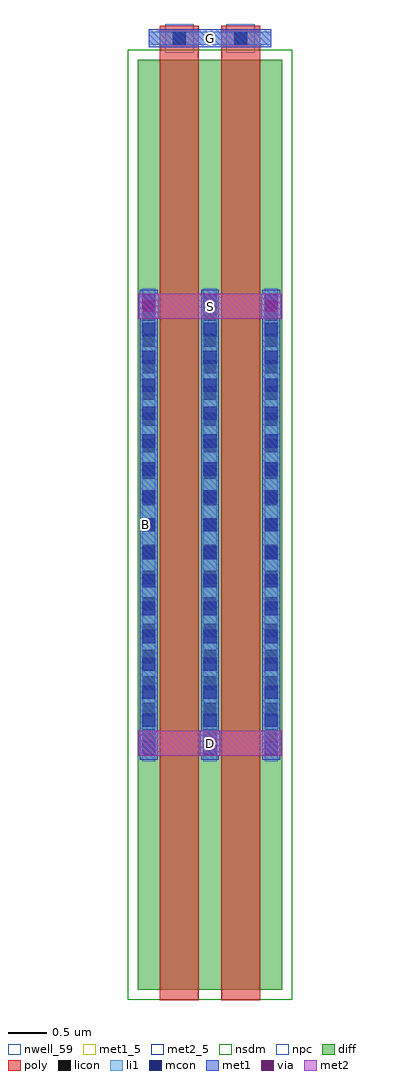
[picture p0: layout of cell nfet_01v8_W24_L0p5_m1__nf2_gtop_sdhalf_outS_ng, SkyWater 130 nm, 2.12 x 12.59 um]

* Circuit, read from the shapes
.subckt nfet_01v8_W24_L0p5_m1__nf2_gtop_sdhalf_outS_ng B D G S
XM1 D G S B sky130_fd_pr__nfet_01v8 w=12 l=0.5 m=2
.ends

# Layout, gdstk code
import gdstk
lib = gdstk.Library(unit=1e-6, precision=1e-09)
def R(c, l, rs):  # rectangles x0, y0, x1, y1
    for r in rs: c.add(gdstk.rectangle(r[:2], r[2:], *l))
def A(c, l, x, y, w, h, nx, ny, dx, dy):  # array of equal rectangles
    R(c, l, [(x+i*dx, y+j*dy, x+i*dx+w, y+j*dy+h) for i in range(nx) for j in range(ny)])
nwell_59 = (64, 59)
diff = (65, 20)
poly = (66, 20)
licon = (66, 44)
li1 = (67, 20)
mcon = (67, 44)
met1_5 = (68, 5)
met1 = (68, 20)
via = (68, 44)
met2_5 = (69, 5)
met2 = (69, 20)
nsdm = (93, 44)
npc = (95, 20)

sky130_fd_pr__nfet_01v8_ = lib.new_cell('sky130_fd_pr__nfet_01v8_KU99KW')
R(sky130_fd_pr__nfet_01v8_, diff, [(-0.935,-6.155,0.935,5.845)])
R(sky130_fd_pr__nfet_01v8_, poly, [(-0.645,-6.285,-0.145,6.285), (0.145,-6.285,0.645,6.285)])
A(sky130_fd_pr__nfet_01v8_, licon, -0.875, -2.96, 0.17, 0.17, 3, 17, 0.79, 0.34)
R(sky130_fd_pr__nfet_01v8_, licon, [(-0.48,6.035,-0.31,6.205), (0.31,6.035,0.48,6.205)])
A(sky130_fd_pr__nfet_01v8_, li1, -0.875, -3.205, 0.17, 6.1, 3, 1, 0.79, 0)
R(sky130_fd_pr__nfet_01v8_, li1, [(-0.79,6.035,0.79,6.205)])
A(sky130_fd_pr__nfet_01v8_, mcon, -0.875, -3.12, 0.17, 0.17, 3, 17, 0.79, 0.36)
R(sky130_fd_pr__nfet_01v8_, mcon, [(-0.48,6.035,-0.31,6.205), (0.31,6.035,0.48,6.205)])
A(sky130_fd_pr__nfet_01v8_, met1, -0.905, -3.185, 0.23, 6.06, 3, 1, 0.79, 0)
R(sky130_fd_pr__nfet_01v8_, met1, [(-0.625,6.005,-0.165,6.035), (0.165,6.005,0.625,6.035), (-0.79,6.035,0.79,6.205), (-0.625,6.205,-0.165,6.235), (0.165,6.205,0.625,6.235)])
R(sky130_fd_pr__nfet_01v8_, nsdm, [(-1.06,-6.28,1.06,5.97)])
R(sky130_fd_pr__nfet_01v8_, npc, [(-0.58,5.935,-0.21,6.305), (0.21,5.935,0.58,6.305)])
sky130_fd_pr__nfet_01v8_.add(gdstk.Label('D0', (-0.79,-0.155), layer=67, texttype=5))
sky130_fd_pr__nfet_01v8_.add(gdstk.Label('G', (0.395,6.12), layer=67, texttype=5))
sky130_fd_pr__nfet_01v8_.add(gdstk.Label('G', (-0.395,6.12), layer=67, texttype=5))
sky130_fd_pr__nfet_01v8_.add(gdstk.Label('S1', (0,-0.155), layer=67, texttype=5))

nfet_01v8_w24_l0p5_m1__n = lib.new_cell('nfet_01v8_W24_L0p5_m1__nf2_gtop_sdhalf_outS_ng')
R(nfet_01v8_w24_l0p5_m1__n, nwell_59, [(0.05,6.08,0.15,6.18)])
R(nfet_01v8_w24_l0p5_m1__n, met1_5, [(0.145,12.29,1.725,12.52)])
R(nfet_01v8_w24_l0p5_m1__n, met1, [(0.805,3.15,1.065,3.47), (0.015,8.79,0.275,9.11), (1.595,8.79,1.855,9.11), (0.145,12.29,1.725,12.52)])
R(nfet_01v8_w24_l0p5_m1__n, via, [(0.86,3.235,1.01,3.385), (0.07,8.875,0.22,9.025), (1.65,8.875,1.8,9.025)])
R(nfet_01v8_w24_l0p5_m1__n, met2_5, [(0.01,3.15,1.86,3.47), (0.01,8.79,1.86,9.11)])
R(nfet_01v8_w24_l0p5_m1__n, met2, [(0.01,3.15,1.86,3.47), (0.01,8.79,1.86,9.11)])
nfet_01v8_w24_l0p5_m1__n.add(gdstk.Reference(sky130_fd_pr__nfet_01v8_, (0.935,6.285)))
nfet_01v8_w24_l0p5_m1__n.add(gdstk.Label('S', (0.935,8.95), layer=69, texttype=5))
nfet_01v8_w24_l0p5_m1__n.add(gdstk.Label('D', (0.935,3.31), layer=69, texttype=5))
nfet_01v8_w24_l0p5_m1__n.add(gdstk.Label('G', (0.935,12.405), layer=68, texttype=5))
nfet_01v8_w24_l0p5_m1__n.add(gdstk.Label('B', (0.1,6.13), layer=64, texttype=59))

lib.write_gds('nfet_01v8_W24_L0p5_m1__nf2_gtop_sdhalf_outS_ng.gds')
